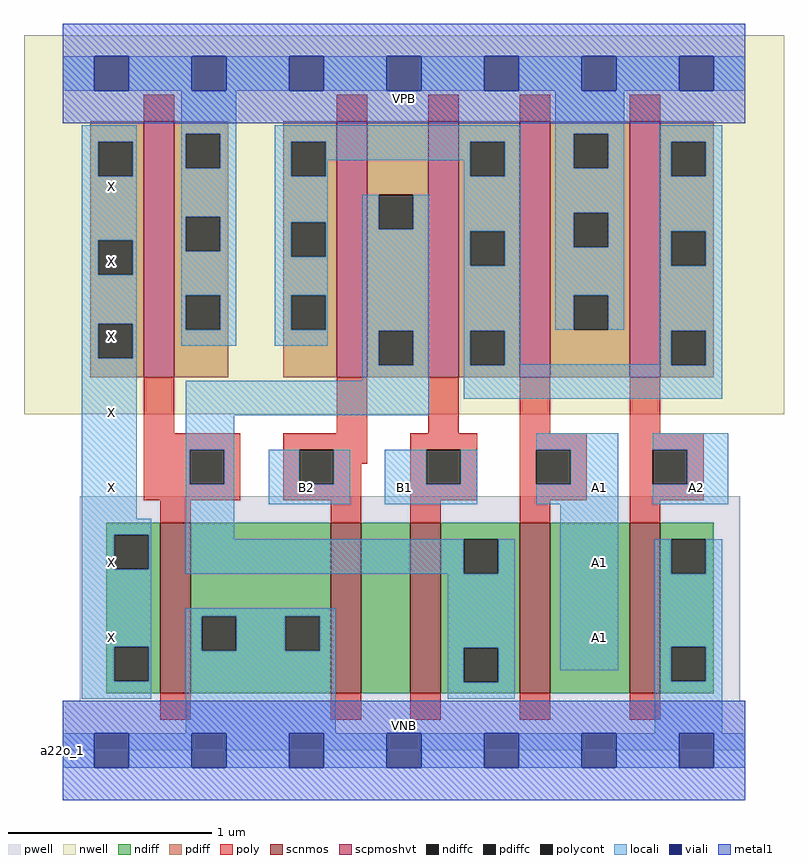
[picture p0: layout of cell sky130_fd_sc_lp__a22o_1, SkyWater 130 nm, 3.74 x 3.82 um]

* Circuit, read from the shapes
.subckt sky130_fd_sc_lp__a22o_1 A1 A2 B1 B2 VGND VNB VPB VPWR X
XM1 VGND n1 X VNB sky130_fd_pr__nfet_01v8 w=0.84 l=0.15
XM2 n2 B2 VGND VNB sky130_fd_pr__nfet_01v8 w=0.84 l=0.15
XM3 n1 B1 n2 VNB sky130_fd_pr__nfet_01v8 w=0.84 l=0.15
XM4 n3 A1 n1 VNB sky130_fd_pr__nfet_01v8 w=0.84 l=0.15
XM5 VGND A2 n3 VNB sky130_fd_pr__nfet_01v8 w=0.84 l=0.15
XM6 VPWR n1 X VPB sky130_fd_pr__pfet_01v8_hvt w=1.26 l=0.15
XM7 n1 B2 n4 VPB sky130_fd_pr__pfet_01v8_hvt w=1.26 l=0.15
XM8 n4 B1 n1 VPB sky130_fd_pr__pfet_01v8_hvt w=1.26 l=0.15
XM9 VPWR A1 n4 VPB sky130_fd_pr__pfet_01v8_hvt w=1.26 l=0.15
XM10 n4 A2 VPWR VPB sky130_fd_pr__pfet_01v8_hvt w=1.26 l=0.15
.ends

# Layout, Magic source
magic
tech sky130A
magscale 1 2
<< nwell >>
rect -38 331 710 704
<< pwell >>
rect 17 49 667 250
rect 0 0 672 49
<< scnmos >>
rect 96 56 126 224
rect 264 56 294 224
rect 342 56 372 224
rect 450 56 480 224
rect 558 56 588 224
<< scpmoshvt >>
rect 80 367 110 619
rect 270 367 300 619
rect 360 367 390 619
rect 450 367 480 619
rect 558 367 588 619
<< ndiff >>
rect 43 212 96 224
rect 43 178 51 212
rect 85 178 96 212
rect 43 102 96 178
rect 43 68 51 102
rect 85 68 96 102
rect 43 56 96 68
rect 126 132 264 224
rect 126 98 137 132
rect 171 98 219 132
rect 253 98 264 132
rect 126 56 264 98
rect 294 56 342 224
rect 372 208 450 224
rect 372 174 395 208
rect 429 174 450 208
rect 372 101 450 174
rect 372 67 395 101
rect 429 67 450 101
rect 372 56 450 67
rect 480 56 558 224
rect 588 208 641 224
rect 588 174 599 208
rect 633 174 641 208
rect 588 102 641 174
rect 588 68 599 102
rect 633 68 641 102
rect 588 56 641 68
<< pdiff >>
rect 27 599 80 619
rect 27 565 35 599
rect 69 565 80 599
rect 27 502 80 565
rect 27 468 35 502
rect 69 468 80 502
rect 27 420 80 468
rect 27 386 35 420
rect 69 386 80 420
rect 27 367 80 386
rect 110 607 163 619
rect 110 573 121 607
rect 155 573 163 607
rect 110 525 163 573
rect 110 491 121 525
rect 155 491 163 525
rect 110 448 163 491
rect 110 414 121 448
rect 155 414 163 448
rect 110 367 163 414
rect 217 599 270 619
rect 217 565 225 599
rect 259 565 270 599
rect 217 520 270 565
rect 217 486 225 520
rect 259 486 270 520
rect 217 448 270 486
rect 217 414 225 448
rect 259 414 270 448
rect 217 367 270 414
rect 300 547 360 619
rect 300 513 311 547
rect 345 513 360 547
rect 300 413 360 513
rect 300 379 311 413
rect 345 379 360 413
rect 300 367 360 379
rect 390 599 450 619
rect 390 565 401 599
rect 435 565 450 599
rect 390 511 450 565
rect 390 477 401 511
rect 435 477 450 511
rect 390 413 450 477
rect 390 379 401 413
rect 435 379 450 413
rect 390 367 450 379
rect 480 607 558 619
rect 480 573 503 607
rect 537 573 558 607
rect 480 529 558 573
rect 480 495 503 529
rect 537 495 558 529
rect 480 448 558 495
rect 480 414 503 448
rect 537 414 558 448
rect 480 367 558 414
rect 588 599 641 619
rect 588 565 599 599
rect 633 565 641 599
rect 588 511 641 565
rect 588 477 599 511
rect 633 477 641 511
rect 588 413 641 477
rect 588 379 599 413
rect 633 379 641 413
rect 588 367 641 379
<< ndiffc >>
rect 51 178 85 212
rect 51 68 85 102
rect 137 98 171 132
rect 219 98 253 132
rect 395 174 429 208
rect 395 67 429 101
rect 599 174 633 208
rect 599 68 633 102
<< pdiffc >>
rect 35 565 69 599
rect 35 468 69 502
rect 35 386 69 420
rect 121 573 155 607
rect 121 491 155 525
rect 121 414 155 448
rect 225 565 259 599
rect 225 486 259 520
rect 225 414 259 448
rect 311 513 345 547
rect 311 379 345 413
rect 401 565 435 599
rect 401 477 435 511
rect 401 379 435 413
rect 503 573 537 607
rect 503 495 537 529
rect 503 414 537 448
rect 599 565 633 599
rect 599 477 633 511
rect 599 379 633 413
<< poly >>
rect 80 619 110 645
rect 270 619 300 645
rect 360 619 390 645
rect 450 619 480 645
rect 558 619 588 645
rect 80 312 110 367
rect 270 312 300 367
rect 360 312 390 367
rect 450 312 480 367
rect 558 312 588 367
rect 80 296 175 312
rect 80 262 125 296
rect 159 262 175 296
rect 80 246 175 262
rect 217 296 300 312
rect 217 262 233 296
rect 267 282 300 296
rect 342 296 408 312
rect 267 262 294 282
rect 217 246 294 262
rect 96 224 126 246
rect 264 224 294 246
rect 342 262 358 296
rect 392 262 408 296
rect 342 246 408 262
rect 450 296 516 312
rect 450 262 466 296
rect 500 262 516 296
rect 450 246 516 262
rect 558 296 631 312
rect 558 262 581 296
rect 615 262 631 296
rect 558 246 631 262
rect 342 224 372 246
rect 450 224 480 246
rect 558 224 588 246
rect 96 30 126 56
rect 264 30 294 56
rect 342 30 372 56
rect 450 30 480 56
rect 558 30 588 56
<< polycont >>
rect 125 262 159 296
rect 233 262 267 296
rect 358 262 392 296
rect 466 262 500 296
rect 581 262 615 296
<< locali >>
rect 0 649 31 683
rect 65 649 127 683
rect 161 649 223 683
rect 257 649 319 683
rect 353 649 415 683
rect 449 649 511 683
rect 545 649 607 683
rect 641 649 672 683
rect 19 599 73 615
rect 19 565 35 599
rect 69 565 73 599
rect 19 502 73 565
rect 19 468 35 502
rect 69 468 73 502
rect 19 420 73 468
rect 19 386 35 420
rect 69 386 73 420
rect 117 607 171 649
rect 117 573 121 607
rect 155 573 171 607
rect 117 525 171 573
rect 117 491 121 525
rect 155 491 171 525
rect 117 448 171 491
rect 117 414 121 448
rect 155 414 171 448
rect 117 398 171 414
rect 209 599 451 615
rect 209 565 225 599
rect 259 581 401 599
rect 259 565 261 581
rect 209 520 261 565
rect 395 565 401 581
rect 435 565 451 599
rect 209 486 225 520
rect 259 486 261 520
rect 209 448 261 486
rect 209 414 225 448
rect 259 414 261 448
rect 209 398 261 414
rect 295 513 311 547
rect 345 513 361 547
rect 295 413 361 513
rect 19 228 73 386
rect 295 379 311 413
rect 345 379 361 413
rect 295 364 361 379
rect 121 330 361 364
rect 395 511 451 565
rect 395 477 401 511
rect 435 477 451 511
rect 395 413 451 477
rect 485 607 553 649
rect 485 573 503 607
rect 537 573 553 607
rect 485 529 553 573
rect 485 495 503 529
rect 537 495 553 529
rect 485 448 553 495
rect 485 414 503 448
rect 537 414 553 448
rect 587 599 649 615
rect 587 565 599 599
rect 633 565 649 599
rect 587 511 649 565
rect 587 477 599 511
rect 633 477 649 511
rect 395 379 401 413
rect 435 380 451 413
rect 587 413 649 477
rect 587 380 599 413
rect 435 379 599 380
rect 633 379 649 413
rect 395 346 649 379
rect 121 296 169 330
rect 466 296 547 312
rect 121 262 125 296
rect 159 262 169 296
rect 19 212 87 228
rect 19 178 51 212
rect 85 178 87 212
rect 19 102 87 178
rect 121 208 169 262
rect 203 262 233 296
rect 267 262 283 296
rect 203 242 283 262
rect 317 262 358 296
rect 392 262 408 296
rect 317 242 408 262
rect 500 262 547 296
rect 466 242 547 262
rect 581 296 655 312
rect 615 262 655 296
rect 581 242 655 262
rect 121 174 395 208
rect 429 174 445 208
rect 19 68 51 102
rect 85 68 87 102
rect 19 51 87 68
rect 121 132 269 140
rect 121 98 137 132
rect 171 98 219 132
rect 253 98 269 132
rect 121 17 269 98
rect 379 101 445 174
rect 379 67 395 101
rect 429 67 445 101
rect 490 79 547 242
rect 583 174 599 208
rect 633 174 649 208
rect 583 102 649 174
rect 379 51 445 67
rect 583 68 599 102
rect 633 68 649 102
rect 583 17 649 68
rect 0 -17 31 17
rect 65 -17 127 17
rect 161 -17 223 17
rect 257 -17 319 17
rect 353 -17 415 17
rect 449 -17 511 17
rect 545 -17 607 17
rect 641 -17 672 17
<< viali >>
rect 31 649 65 683
rect 127 649 161 683
rect 223 649 257 683
rect 319 649 353 683
rect 415 649 449 683
rect 511 649 545 683
rect 607 649 641 683
rect 31 -17 65 17
rect 127 -17 161 17
rect 223 -17 257 17
rect 319 -17 353 17
rect 415 -17 449 17
rect 511 -17 545 17
rect 607 -17 641 17
<< metal1 >>
rect 0 683 672 715
rect 0 649 31 683
rect 65 649 127 683
rect 161 649 223 683
rect 257 649 319 683
rect 353 649 415 683
rect 449 649 511 683
rect 545 649 607 683
rect 641 649 672 683
rect 0 617 672 649
rect 0 17 672 49
rect 0 -17 31 17
rect 65 -17 127 17
rect 161 -17 223 17
rect 257 -17 319 17
rect 353 -17 415 17
rect 449 -17 511 17
rect 545 -17 607 17
rect 641 -17 672 17
rect 0 -49 672 -17
<< labels >>
flabel pwell s 0 0 672 49 0 FreeSans 200 0 0 0 VNB
port 6 nsew ground bidirectional
flabel nwell s 0 617 672 666 0 FreeSans 200 0 0 0 VPB
port 7 nsew power bidirectional
rlabel comment s 0 0 0 0 4 a22o_1
flabel metal1 s 0 617 672 666 0 FreeSans 340 0 0 0 VPWR
port 8 nsew power bidirectional
flabel metal1 s 0 0 672 49 0 FreeSans 340 0 0 0 VGND
port 5 nsew ground bidirectional
flabel locali s 511 94 545 128 0 FreeSans 340 0 0 0 A1
port 1 nsew signal input
flabel locali s 511 168 545 202 0 FreeSans 340 0 0 0 A1
port 1 nsew signal input
flabel locali s 511 242 545 276 0 FreeSans 340 0 0 0 A1
port 1 nsew signal input
flabel locali s 319 242 353 276 0 FreeSans 340 0 0 0 B1
port 3 nsew signal input
flabel locali s 31 94 65 128 0 FreeSans 340 0 0 0 X
port 9 nsew signal output
flabel locali s 31 168 65 202 0 FreeSans 340 0 0 0 X
port 9 nsew signal output
flabel locali s 31 242 65 276 0 FreeSans 340 0 0 0 X
port 9 nsew signal output
flabel locali s 31 316 65 350 0 FreeSans 340 0 0 0 X
port 9 nsew signal output
flabel locali s 31 390 65 424 0 FreeSans 340 0 0 0 X
port 9 nsew signal output
flabel locali s 31 464 65 498 0 FreeSans 340 0 0 0 X
port 9 nsew signal output
flabel locali s 31 538 65 572 0 FreeSans 340 0 0 0 X
port 9 nsew signal output
flabel locali s 607 242 641 276 0 FreeSans 340 0 0 0 A2
port 2 nsew signal input
flabel locali s 223 242 257 276 0 FreeSans 340 0 0 0 B2
port 4 nsew signal input
<< properties >>
string LEFsite unit
string LEFclass CORE
string FIXED_BBOX 0 0 672 666
string GDS_FILE $PDKPATH/libs.ref/sky130_fd_sc_lp/gds/sky130_fd_sc_lp.gds
string LEFsymmetry X Y R90
string GDS_END 1153930
string GDS_START 1146520
<< end >>
